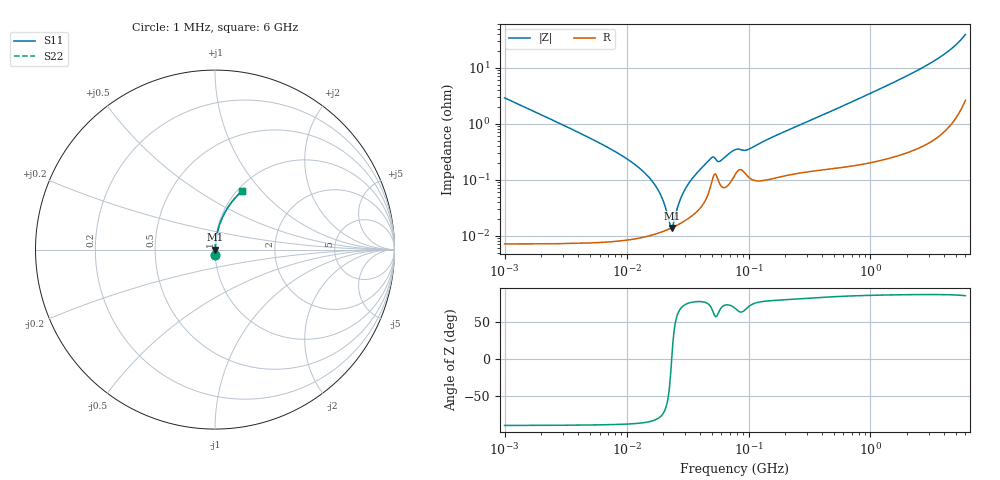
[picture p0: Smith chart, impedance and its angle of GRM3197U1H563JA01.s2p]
!Murata Part Number: GRM3197U1H563JA01
!These Parameters are Measured in Series Mode Connection
!Data Generated on Mar 30, 2021
!  o--ll--o
!Port1  Port2
!  o------o
!Operation Temp=25[degC], DC Bias Voltage=0[V]
!Freq. Start=1000[kHz] Stop=6[GHz] 401[Steps]
# Hz S RI R 50
!Freq.(Hz) S11(Real) S11(Imag) S21(Real) S21(Imag) S12(Real) S12(Imag) S22(Real) S22(Imag)
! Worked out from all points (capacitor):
!   401 points, 1 MHz to 6 GHz, reference 50 ohm
!   read as one part in series: C = 54.7 nF near 1.044 MHz
!   lowest |Z| = 13.8 mohm at 23.42 MHz (marker M1)
!   series resonance near 23.43 MHz, so ESL is about 840 pH
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1000000  0.000913 -0.029  0.9991 0.029  0.9991 0.029  0.000913 -0.029
4293785  0.000116 -0.00655  0.9999 0.00655  0.9999 0.00655  0.000116 -0.00655
7724414  8.95e-05 -0.00336  0.9999 0.00336  0.9999 0.00336  8.95e-05 -0.00336
1.142569e7  9.05e-05 -0.00194  0.9999 0.00194  0.9999 0.00194  9.05e-05 -0.00194
1.515906e7  9.99e-05 -0.00112  0.9999 0.00112  0.9999 0.00112  9.99e-05 -0.00112
1.843659e7  0.000112 -0.000604  0.9999 0.000604  0.9999 0.000604  0.000112 -0.000604
2.011232e7  0.00012 -0.000383  0.9999 0.000383  0.9999 0.000383  0.00012 -0.000383
2.242276e7  0.000132 -0.00011  0.9999 0.00011  0.9999 0.00011  0.000132 -0.00011
2.341962e7  0.000138 -1.2e-06  0.9999 1.2e-06  0.9999 1.2e-06  0.000138 -1.2e-06
2.44608e7  0.000144 0.000108  0.9999 -0.000108  0.9999 -0.000108  0.000144 0.000108
2.668407e7  0.000159 0.000329  0.9998 -0.000329  0.9998 -0.000329  0.000159 0.000329
2.910942e7  0.000177 0.000554  0.9998 -0.000554  0.9998 -0.000554  0.000177 0.000554
3.618157e7  0.000249 0.00116  0.9998 -0.00116  0.9998 -0.00116  0.000249 0.00116
4.905945e7  0.000792 0.00228  0.9992 -0.00228  0.9992 -0.00228  0.000792 0.00228
5.838291e7  0.000827 0.00198  0.9992 -0.00198  0.9992 -0.00198  0.000827 0.00198
7.745967e7  0.00123 0.0032  0.9988 -0.0032  0.9988 -0.0032  0.00123 0.0032
1.005588e8  0.00111 0.00332  0.9989 -0.00332  0.9989 -0.00332  0.00111 0.00332
3.325952e8  0.00155 0.0118  0.9984 -0.0118  0.9984 -0.0118  0.00155 0.0118
1.428092e9  0.00493 0.05  0.9951 -0.05  0.9951 -0.05  0.00493 0.05
3.5601e9  0.0262 0.1412  0.9738 -0.1412  0.9738 -0.1412  0.0262 0.1412
4.827224e9  0.0632 0.2209  0.9368 -0.2209  0.9368 -0.2209  0.0632 0.2209
6e9  0.1503 0.3256  0.8497 -0.3256  0.8497 -0.3256  0.1503 0.3256
